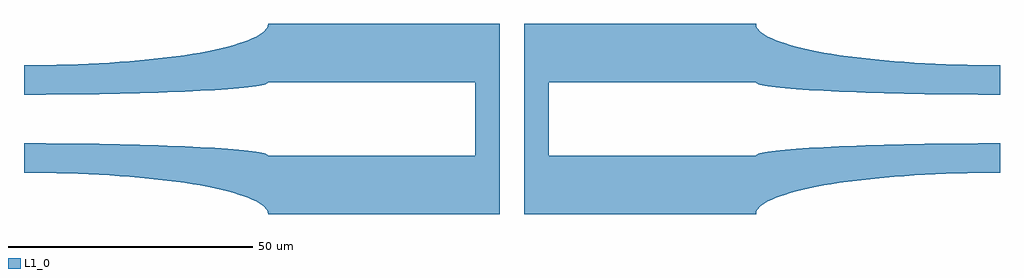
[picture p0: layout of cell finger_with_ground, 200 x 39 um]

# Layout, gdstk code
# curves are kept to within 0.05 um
import gdstk
lib = gdstk.Library(unit=1e-6, precision=1e-09)
def P(c, l, *ps):  # polygons
    for p in ps: c.add(gdstk.Polygon(p, *l))
L1_0 = (1, 0)

finger_with_ground = lib.new_cell('finger_with_ground')
P(finger_with_ground, L1_0, [(0,5),(0,11),(8.928,11.137),(17.569,11.542),(25.645,12.203),(31.174,12.854),(34.553,13.356),(39.092,14.2),(41.729,14.817),(44.03,15.472),(45.976,16.159),(47.553,16.873),(48.198,17.239),(49.196,17.982),(49.799,18.738),(50,19.5),(50,7.5),(49.799,7.276),(49.196,7.054),(46.812,6.622),(42.922,6.218),(37.654,5.855),(31.174,5.545),(17.569,5.159)],
  [(50,-19.5),(49.799,-18.738),(49.196,-17.982),(48.198,-17.239),(47.553,-16.873),(45.976,-16.159),(44.03,-15.472),(41.729,-14.817),(39.092,-14.2),(34.553,-13.356),(31.174,-12.854),(25.645,-12.203),(17.569,-11.542),(8.928,-11.137),(0,-11),(0,-5),(17.569,-5.159),(31.174,-5.545),(37.654,-5.855),(42.922,-6.218),(46.812,-6.622),(49.196,-7.054),(49.799,-7.276),(50,-7.5)],
  [(200,5),(182.431,5.159),(168.826,5.545),(162.346,5.855),(157.078,6.218),(153.188,6.622),(150.804,7.054),(150.201,7.276),(150,7.5),(150,19.5),(150.201,18.738),(150.804,17.982),(151.802,17.239),(152.447,16.873),(154.024,16.159),(155.97,15.472),(158.271,14.817),(160.908,14.2),(165.447,13.356),(168.826,12.854),(174.355,12.203),(182.431,11.542),(191.072,11.137),(200,11)],
  [(150,-19.5),(150,-7.5),(150.201,-7.276),(150.804,-7.054),(153.188,-6.622),(157.078,-6.218),(162.346,-5.855),(168.826,-5.545),(182.431,-5.159),(200,-5),(200,-11),(191.072,-11.137),(182.431,-11.542),(174.355,-12.203),(168.826,-12.854),(165.447,-13.356),(160.908,-14.2),(158.271,-14.817),(155.97,-15.472),(154.024,-16.159),(152.447,-16.873),(151.802,-17.239),(150.804,-17.982),(150.201,-18.738)],
  [(50,-19.5),(50,-7.5),(92.5,-7.5),(92.5,7.5),(50,7.5),(50,19.5),(97.5,19.5),(97.5,-19.5)],
  [(102.5,-19.5),(102.5,19.5),(150,19.5),(150,7.5),(107.5,7.5),(107.5,-7.5),(150,-7.5),(150,-19.5)])

lib.write_gds('finger_with_ground.gds')
